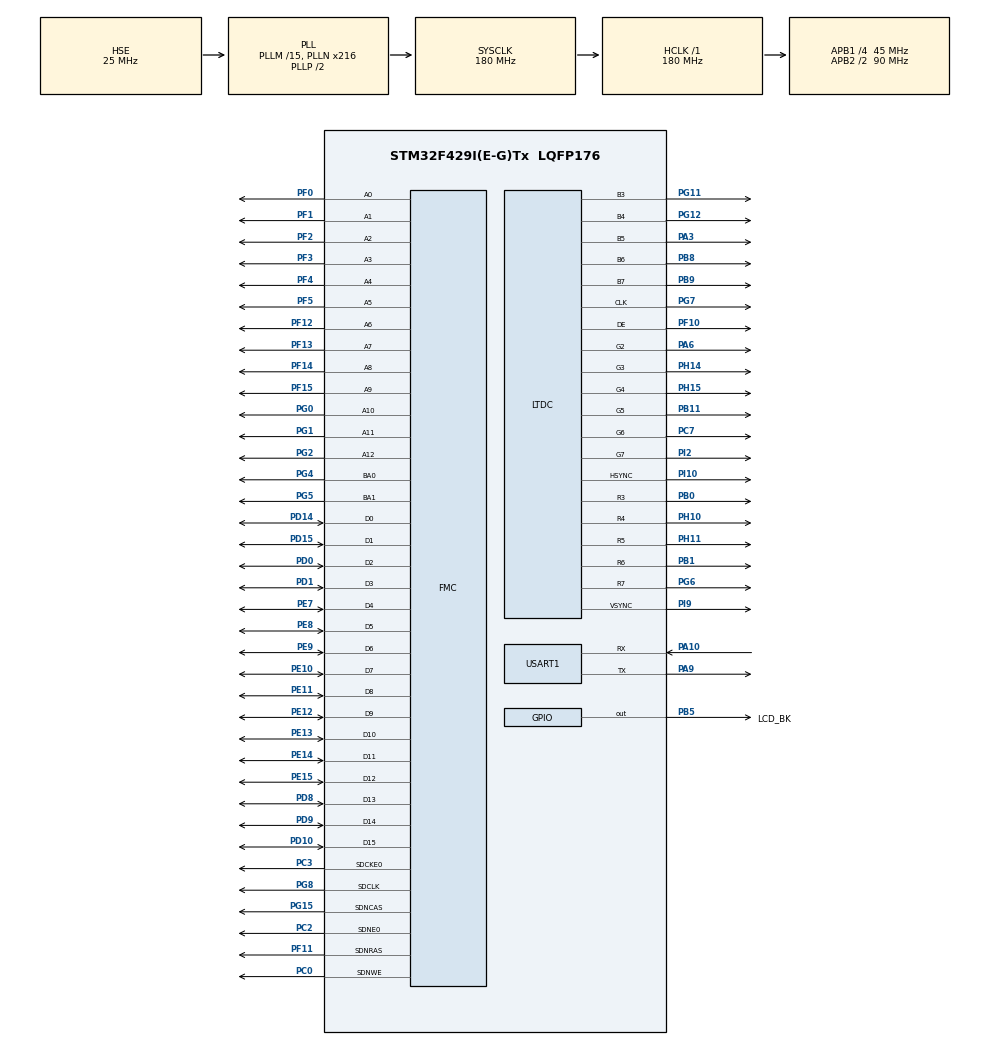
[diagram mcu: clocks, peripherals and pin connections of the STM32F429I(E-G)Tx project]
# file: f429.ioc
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FMC.CASLatency1=FMC_SDRAM_CAS_LATENCY_3
FMC.ColumnBitsNumber1=FMC_SDRAM_COLUMN_BITS_NUM_9
FMC.ExitSelfRefreshDelay1=8
FMC.LoadToActiveDelay1=2
FMC.RCDDelay1=2
FMC.RPDelay1=2
FMC.ReadBurst1=FMC_SDRAM_RBURST_ENABLE
FMC.ReadBurst2=FMC_SDRAM_RBURST_ENABLE
FMC.ReadPipeDelay1=FMC_SDRAM_RPIPE_DELAY_1
FMC.RowCycleDelay1=6
FMC.SDClockPeriod1=FMC_SDRAM_CLOCK_PERIOD_2
FMC.SelfRefreshTime1=6
FMC.WriteRecoveryTime1=4
LTDC.ActiveH=600
LTDC.ActiveW=1024
LTDC.HBP=140
LTDC.HFP=160
LTDC.HSync=20
LTDC.VBP=20
LTDC.VFP=22
LTDC.VSync=3
Mcu.Family=STM32F4
Mcu.Name=STM32F429I(E-G)Tx
Mcu.Package=LQFP176
NVIC.PriorityGroup=NVIC_PRIORITYGROUP_4
PA10.Mode=Asynchronous
PA10.Signal=USART1_RX
PA3.Mode=RGB565
PA3.Signal=LTDC_B5
PA6.Mode=RGB565
PA6.Signal=LTDC_G2
PA9.Mode=Asynchronous
PA9.Signal=USART1_TX
PB0.Mode=RGB565
PB0.Signal=LTDC_R3
PB1.Mode=RGB565
PB1.Signal=LTDC_R6
PB11.Mode=RGB565
PB11.Signal=LTDC_G5
PB5.GPIO_Label=LCD_BK
PB5.Signal=GPIO_Output
PB8.Mode=RGB565
PB8.Signal=LTDC_B6
PB9.Mode=RGB565
PB9.Signal=LTDC_B7
PC0.Signal=FMC_SDNWE
PC2.Mode=SdramChipSelect1_1
PC2.Signal=FMC_SDNE0
PC3.Mode=SdramChipSelect1_1
PC3.Signal=FMC_SDCKE0
PC7.Mode=RGB565
PC7.Signal=LTDC_G6
PD0.Signal=FMC_D2_DA2
PD1.Signal=FMC_D3_DA3
PD10.Signal=FMC_D15_DA15
PD14.Signal=FMC_D0_DA0
PD15.Signal=FMC_D1_DA1
PD8.Signal=FMC_D13_DA13
PD9.Signal=FMC_D14_DA14
PE0.Signal=FMC_NBL0
PE1.Signal=FMC_NBL1
PE10.Signal=FMC_D7_DA7
PE11.Signal=FMC_D8_DA8
PE12.Signal=FMC_D9_DA9
PE13.Signal=FMC_D10_DA10
PE14.Signal=FMC_D11_DA11
PE15.Signal=FMC_D12_DA12
PE7.Signal=FMC_D4_DA4
PE8.Signal=FMC_D5_DA5
PE9.Signal=FMC_D6_DA6
PF0.Signal=FMC_A0
PF1.Signal=FMC_A1
PF10.Mode=RGB565
PF10.Signal=LTDC_DE
PF11.Signal=FMC_SDNRAS
PF12.Signal=FMC_A6
PF13.Signal=FMC_A7
PF14.Signal=FMC_A8
PF15.Signal=FMC_A9
PF2.Signal=FMC_A2
PF3.Signal=FMC_A3
PF4.Signal=FMC_A4
PF5.Signal=FMC_A5
PG0.Signal=FMC_A10
PG1.Signal=FMC_A11
PG11.Mode=RGB565
PG11.Signal=LTDC_B3
PG12.Mode=RGB565
PG12.Signal=LTDC_B4
PG15.Signal=FMC_SDNCAS
PG2.Signal=FMC_A12
PG4.Signal=FMC_A14_BA0
PG5.Signal=FMC_A15_BA1
PG6.Mode=RGB565
PG6.Signal=LTDC_R7
PG7.Mode=RGB565
PG7.Signal=LTDC_CLK
PG8.Signal=FMC_SDCLK
PH0/OSC_IN.Mode=HSE-External-Oscillator
PH0/OSC_IN.Signal=RCC_OSC_IN
PH1/OSC_OUT.Mode=HSE-External-Oscillator
PH1/OSC_OUT.Signal=RCC_OSC_OUT
PH10.Mode=RGB565
PH10.Signal=LTDC_R4
PH11.Mode=RGB565
PH11.Signal=LTDC_R5
PH14.Mode=RGB565
PH14.Signal=LTDC_G3
PH15.Mode=RGB565
PH15.Signal=LTDC_G4
PI10.Mode=RGB565
PI10.Signal=LTDC_HSYNC
PI2.Mode=RGB565
PI2.Signal=LTDC_G7
PI9.Mode=RGB565
PI9.Signal=LTDC_VSYNC
ProjectManager.HeapSize=0x400
ProjectManager.StackSize=0x800
ProjectManager.TargetToolchain=MDK-ARM V5.27
RCC.48MHZClocksFreq_Value=90000000
RCC.AHBFreq_Value=180000000
RCC.APB1CLKDivider=RCC_HCLK_DIV4
RCC.APB1Freq_Value=45000000
RCC.APB1TimFreq_Value=90000000
RCC.APB2CLKDivider=RCC_HCLK_DIV2
RCC.APB2Freq_Value=90000000
RCC.APB2TimFreq_Value=180000000
RCC.CortexFreq_Value=180000000
RCC.HCLKFreq_Value=180000000
RCC.HSE_VALUE=25000000
RCC.HSI_VALUE=16000000
RCC.LSE_VALUE=32768
RCC.PLLM=15
RCC.PLLN=216
RCC.PLLSAIN=198
RCC.PLLSAIR=5
RCC.PLLSourceVirtual=RCC_PLLSOURCE_HSE
RCC.SYSCLKFreq_VALUE=180000000
RCC.SYSCLKSource=RCC_SYSCLKSOURCE_PLLCLK
RCC.VCOOutputFreq_Value=360000000
SH.FMC_A0.0=FMC_A0,13b-sda1
SH.FMC_A1.0=FMC_A1,13b-sda1
SH.FMC_A10.0=FMC_A10,13b-sda1
SH.FMC_A11.0=FMC_A11,13b-sda1
SH.FMC_A12.0=FMC_A12,13b-sda1
SH.FMC_A14_BA0.0=FMC_BA0,FourSdramBanks1
SH.FMC_A15_BA1.0=FMC_BA1,FourSdramBanks1
SH.FMC_A2.0=FMC_A2,13b-sda1
SH.FMC_A3.0=FMC_A3,13b-sda1
SH.FMC_A4.0=FMC_A4,13b-sda1
SH.FMC_A5.0=FMC_A5,13b-sda1
SH.FMC_A6.0=FMC_A6,13b-sda1
SH.FMC_A7.0=FMC_A7,13b-sda1
SH.FMC_A8.0=FMC_A8,13b-sda1
SH.FMC_A9.0=FMC_A9,13b-sda1
SH.FMC_D0_DA0.0=FMC_D0,sd-16b-d1
SH.FMC_D10_DA10.0=FMC_D10,sd-16b-d1
SH.FMC_D11_DA11.0=FMC_D11,sd-16b-d1
SH.FMC_D12_DA12.0=FMC_D12,sd-16b-d1
SH.FMC_D13_DA13.0=FMC_D13,sd-16b-d1
SH.FMC_D14_DA14.0=FMC_D14,sd-16b-d1
SH.FMC_D15_DA15.0=FMC_D15,sd-16b-d1
SH.FMC_D1_DA1.0=FMC_D1,sd-16b-d1
SH.FMC_D2_DA2.0=FMC_D2,sd-16b-d1
SH.FMC_D3_DA3.0=FMC_D3,sd-16b-d1
SH.FMC_D4_DA4.0=FMC_D4,sd-16b-d1
SH.FMC_D5_DA5.0=FMC_D5,sd-16b-d1
SH.FMC_D6_DA6.0=FMC_D6,sd-16b-d1
SH.FMC_D7_DA7.0=FMC_D7,sd-16b-d1
SH.FMC_D8_DA8.0=FMC_D8,sd-16b-d1
SH.FMC_D9_DA9.0=FMC_D9,sd-16b-d1
SH.FMC_NBL0.0=FMC_NBL0
SH.FMC_NBL1.0=FMC_NBL1
SH.FMC_SDCLK.0=FMC_SDCLK,13b-sda1
SH.FMC_SDNCAS.0=FMC_SDNCAS,13b-sda1
SH.FMC_SDNRAS.0=FMC_SDNRAS,13b-sda1
SH.FMC_SDNWE.0=FMC_SDNWE,13b-sda1
USART1.VirtualMode=VM_ASYNC
VP_DMA2D_VS_DMA2D.Mode=DMA2D_Activate
board=custom

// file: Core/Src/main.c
/* USER CODE BEGIN Header */
/**
  ******************************************************************************
  * @file           : main.c
  * @brief          : Main program body
  ******************************************************************************
  * @attention
  *
  * <h2><center>&copy; Copyright (c) 2020 STMicroelectronics.
  * All rights reserved.</center></h2>
  *
  * This software component is licensed by ST under BSD 3-Clause license,
  * the "License"; You may not use this file except in compliance with the
  * License. You may obtain a copy of the License at:
  *                        opensource.org/licenses/BSD-3-Clause
  *
  ******************************************************************************
  */
/* USER CODE END Header */
#include "main.h"
#include "dma2d.h"
#include "ltdc.h"
#include "usart.h"
#include "gpio.h"
#include "fmc.h"

void SystemClock_Config(void);

/* USER CODE BEGIN 0 */

void fsmc_sdram_test(uint16_t x,uint16_t y)
{
	uint32_t i=0;
	uint32_t temp=0;
	uint32_t sval=0;	//在地址0读到的数据
	//每隔16K字节,写入一个数据,总共写入2048个数据,刚好是32M字节
	printf("SDRAM begin\r\n");
	for(i=0;i<32*1024*1024;i+=16*1024)
	{
		*(__IO uint32_t*)(Bank5_SDRAM_ADDR+i)=temp;
		temp++;
	}
	//依次读出之前写入的数据,进行校验
 	for(i=0;i<32*1024*1024;i+=16*1024)
	{
  		temp=*(__IO uint32_t*)(Bank5_SDRAM_ADDR+i);
		if(i==0)sval=temp;
 		else if(temp<=sval)break;//后面读出的数据一定要比第一次读到的数据大.
		printf("SDRAM Capacity:%dKB\r\n",(uint16_t)(temp-sval+1)*16);//打印SDRAM容量
 	}
}
/* USER CODE END 0 */

int main(void)
{

  /* MCU Configuration--------------------------------------------------------*/

  /* Reset of all peripherals, Initializes the Flash interface and the Systick. */
  HAL_Init();

  /* Configure the system clock */
  SystemClock_Config();

  /* Initialize all configured peripherals */
  MX_GPIO_Init();
  MX_LTDC_Init();
  MX_FMC_Init();
  MX_DMA2D_Init();
  MX_USART1_UART_Init();
  /* USER CODE BEGIN 2 */
	MX_SDRAM_InitEx();
	printf("hello world\r\n");
	int ts=0;
//	for(ts=0;ts<250000;ts++)
//	{
//		testsram[ts]=ts;//预存测试数据
//	}
	printf("end \r\n");
	fsmc_sdram_test(30,170);//测试SRAM容量

  /* USER CODE END 2 */

  /* Infinite loop */
  while (1)
  {

  }
}

void SystemClock_Config(void)
{
  RCC_OscInitTypeDef RCC_OscInitStruct = {0};
  RCC_ClkInitTypeDef RCC_ClkInitStruct = {0};
  RCC_PeriphCLKInitTypeDef PeriphClkInitStruct = {0};

  /** Configure the main internal regulator output voltage
  */
  __HAL_RCC_PWR_CLK_ENABLE();
  __HAL_PWR_VOLTAGESCALING_CONFIG(PWR_REGULATOR_VOLTAGE_SCALE1);
  /** Initializes the RCC Oscillators according to the specified parameters
  * in the RCC_OscInitTypeDef structure.
  */
  RCC_OscInitStruct.OscillatorType = RCC_OSCILLATORTYPE_HSE;
  RCC_OscInitStruct.HSEState = RCC_HSE_ON;
  RCC_OscInitStruct.PLL.PLLState = RCC_PLL_ON;
  RCC_OscInitStruct.PLL.PLLSource = RCC_PLLSOURCE_HSE;
  RCC_OscInitStruct.PLL.PLLM = 15;
  RCC_OscInitStruct.PLL.PLLN = 216;
  RCC_OscInitStruct.PLL.PLLP = RCC_PLLP_DIV2;
  RCC_OscInitStruct.PLL.PLLQ = 4;
  if (HAL_RCC_OscConfig(&RCC_OscInitStruct) != HAL_OK)
  {
    Error_Handler();
  }
  /** Activate the Over-Drive mode
  */
  if (HAL_PWREx_EnableOverDrive() != HAL_OK)
  {
    Error_Handler();
  }
  /** Initializes the CPU, AHB and APB buses clocks
  */
  RCC_ClkInitStruct.ClockType = RCC_CLOCKTYPE_HCLK|RCC_CLOCKTYPE_SYSCLK
                              |RCC_CLOCKTYPE_PCLK1|RCC_CLOCKTYPE_PCLK2;
  RCC_ClkInitStruct.SYSCLKSource = RCC_SYSCLKSOURCE_PLLCLK;
  RCC_ClkInitStruct.AHBCLKDivider = RCC_SYSCLK_DIV1;
  RCC_ClkInitStruct.APB1CLKDivider = RCC_HCLK_DIV4;
  RCC_ClkInitStruct.APB2CLKDivider = RCC_HCLK_DIV2;

  if (HAL_RCC_ClockConfig(&RCC_ClkInitStruct, FLASH_LATENCY_5) != HAL_OK)
  {
    Error_Handler();
  }
  PeriphClkInitStruct.PeriphClockSelection = RCC_PERIPHCLK_LTDC;
  PeriphClkInitStruct.PLLSAI.PLLSAIN = 198;
  PeriphClkInitStruct.PLLSAI.PLLSAIR = 5;
  PeriphClkInitStruct.PLLSAIDivR = RCC_PLLSAIDIVR_2;
  if (HAL_RCCEx_PeriphCLKConfig(&PeriphClkInitStruct) != HAL_OK)
  {
    Error_Handler();
  }
}

void Error_Handler(void)
{
}

/************************ (C) COPYRIGHT STMicroelectronics *****END OF FILE****/
